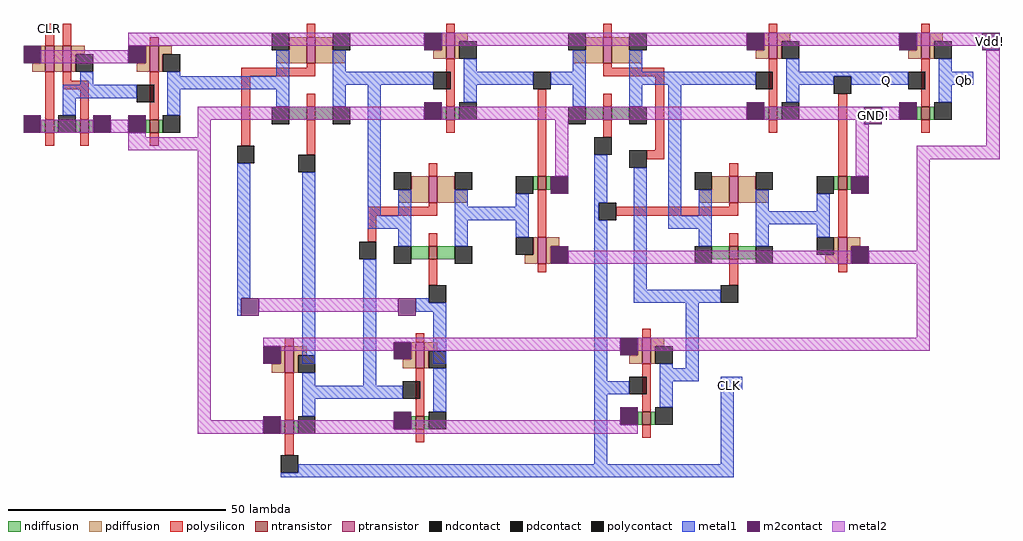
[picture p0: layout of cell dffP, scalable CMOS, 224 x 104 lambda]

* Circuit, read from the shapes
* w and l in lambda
.subckt dffP CLK CLR D GND! Q Qb Vdd!
M1 inverter_11/in CLR GND! VSUBS nfet w=3 l=2
M2 GND! D inverter_11/in VSUBS nfet w=3 l=2
M3 gate_0/Gin inverter_11/in GND! VSUBS nfet w=3 l=2
M4 gate_2/S CLK GND! VSUBS nfet w=3 l=2
M5 gate_2/Gin gate_2/S gate_0/Gin VSUBS nfet w=3 l=2
M6 gate_0/S gate_2/S GND! VSUBS nfet w=3 l=2
M7 gate_2/Gout gate_0/S gate_2/Gin VSUBS nfet w=3 l=2
M8 gate_1/Gin gate_2/Gin GND! VSUBS nfet w=3 l=2
M9 GND! gate_1/Gin gate_2/Gout VSUBS nfet w=3 l=2
M10 gate_3/Gin CLK gate_1/Gin VSUBS nfet w=3 l=2
M11 gate_1/S CLK GND! VSUBS nfet w=3 l=2
M12 gate_3/Gout gate_1/S gate_3/Gin VSUBS nfet w=3 l=2
M13 Q gate_3/Gin GND! VSUBS nfet w=3 l=2
M14 GND! Q gate_3/Gout VSUBS nfet w=3 l=2
M15 Qb Q GND! VSUBS nfet w=3 l=2
M16 n1 CLR Vdd! NWELL pfet w=6 l=2
M17 inverter_11/in D n1 NWELL pfet w=6 l=2
M18 gate_0/Gin inverter_11/in Vdd! NWELL pfet w=6 l=2
M19 gate_2/S CLK Vdd! NWELL pfet w=6 l=2
M20 gate_2/Gin gate_0/S gate_0/Gin NWELL pfet w=6 l=2
M21 gate_0/S gate_2/S Vdd! NWELL pfet w=6 l=2
M22 gate_2/Gout gate_2/S gate_2/Gin NWELL pfet w=6 l=2
M23 gate_1/Gin gate_2/Gin Vdd! NWELL pfet w=6 l=2
M24 Vdd! gate_1/Gin gate_2/Gout NWELL pfet w=6 l=2
M25 gate_3/Gin gate_1/S gate_1/Gin NWELL pfet w=6 l=2
M26 gate_1/S CLK Vdd! NWELL pfet w=6 l=2
M27 gate_3/Gout CLK gate_3/Gin NWELL pfet w=6 l=2
M28 Q gate_3/Gin Vdd! NWELL pfet w=6 l=2
M29 Vdd! Q gate_3/Gout NWELL pfet w=6 l=2
M30 Qb Q Vdd! NWELL pfet w=6 l=2
.ends

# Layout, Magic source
magic
tech scmos
<< polysilicon >>
rect -89 29 -87 32
rect -85 29 -83 32
rect -44 20 -27 22
rect -44 4 -42 20
rect 39 20 53 22
rect -29 2 -27 8
rect 24 -2 26 17
rect 39 6 41 8
rect 51 3 53 20
rect 49 1 53 3
rect 93 -2 95 16
rect -15 -12 1 -10
rect -15 -18 -13 -12
rect 42 -12 70 -10
rect -1 -28 1 -24
rect 68 -28 70 -24
rect -34 -67 -32 -63
<< metal1 >>
rect -79 15 -68 18
rect -61 17 -35 20
rect -21 18 0 21
rect -45 -31 -42 0
rect -45 -35 -44 -31
rect -30 -46 -27 -2
rect -15 -12 -12 18
rect 9 18 23 21
rect 27 18 34 21
rect 47 18 74 21
rect 37 -9 40 2
rect -15 -15 -6 -12
rect 5 -13 22 -10
rect 37 -13 38 -9
rect -16 -51 -13 -22
rect -4 -32 -1 -31
rect -4 -34 3 -32
rect 0 -46 3 -34
rect 37 -50 40 -13
rect 46 -29 49 -1
rect 54 -12 57 18
rect 83 20 109 21
rect 83 18 92 20
rect 96 18 109 20
rect 117 18 124 21
rect 54 -15 63 -12
rect 76 -14 89 -11
rect 46 -32 66 -29
rect 58 -47 61 -32
rect -29 -54 -7 -51
rect 37 -53 45 -50
rect 54 -50 61 -47
rect 66 -52 71 -49
rect 37 -69 40 -53
rect 66 -69 69 -52
rect -31 -71 69 -69
rect -35 -72 69 -71
<< metal2 >>
rect -70 27 -2 30
rect -90 23 -70 26
rect 2 27 72 30
rect 76 27 107 30
rect 111 27 126 30
rect -90 7 -78 10
rect -74 7 -70 10
rect -70 6 -66 7
rect -54 10 -2 13
rect 2 10 72 13
rect 76 10 99 13
rect -54 6 -51 10
rect -70 3 -51 6
rect -54 -59 -51 3
rect 28 -3 31 10
rect 97 9 99 10
rect 103 10 107 13
rect 97 -3 100 9
rect 127 4 130 26
rect 111 1 130 4
rect 31 -23 96 -20
rect 111 -20 114 1
rect 100 -23 114 -20
rect -40 -34 -8 -31
rect 111 -40 114 -23
rect -39 -41 43 -40
rect -39 -42 -9 -41
rect -35 -43 -9 -42
rect -5 -43 43 -41
rect 47 -43 114 -40
rect -54 -62 -39 -59
rect -35 -61 -9 -59
rect -5 -60 43 -59
rect -5 -61 47 -60
rect -35 -62 47 -61
<< polycontact >>
rect -68 14 -64 18
rect 0 17 4 21
rect 23 17 27 21
rect -45 0 -41 4
rect -31 -2 -27 2
rect 37 2 41 6
rect 74 17 78 21
rect 92 16 96 20
rect 109 17 113 21
rect 45 -1 49 3
rect 38 -13 42 -9
rect -17 -22 -13 -18
rect -1 -32 3 -28
rect 66 -32 70 -28
rect -7 -54 -3 -50
rect 45 -53 49 -49
rect -35 -71 -31 -67
<< m2contact >>
rect -94 23 -90 27
rect -70 23 -66 27
rect -2 26 2 30
rect 72 26 76 30
rect 107 26 111 30
rect 126 26 130 30
rect -94 7 -90 11
rect -78 7 -74 11
rect -70 7 -66 11
rect -44 -35 -40 -31
rect -39 -46 -35 -42
rect -2 10 2 14
rect 27 -7 31 -3
rect 27 -23 31 -19
rect -8 -35 -4 -31
rect -9 -45 -5 -41
rect 72 10 76 14
rect 99 9 103 13
rect 107 10 111 14
rect 96 -7 100 -3
rect 96 -23 100 -19
rect 43 -44 47 -40
rect -39 -62 -35 -58
rect -9 -61 -5 -57
rect 43 -60 47 -56
use nor2 nor2_0
transform 1 0 -50 0 1 15
box -44 -11 -24 15
use inverter inverter_11
transform 1 0 -65 0 1 14
box -5 -10 7 15
use gate gate_0
transform 1 0 -28 0 1 12
box -9 -5 9 20
use inverter inverter_0
transform 1 0 3 0 1 17
box -5 -10 7 15
use gate gate_1
transform 1 0 40 0 1 12
box -9 -5 9 20
use inverter inverter_1
transform 1 0 77 0 1 17
box -5 -10 7 15
use inverter inverter_10
transform 1 0 112 0 1 17
box -5 -10 7 15
use gate gate_2
transform 1 0 0 0 1 -20
box -9 -5 9 20
use inverter inverter_2
transform -1 0 26 0 -1 -10
box -5 -10 7 15
use gate gate_3
transform 1 0 69 0 1 -20
box -9 -5 9 20
use inverter inverter_3
transform -1 0 95 0 -1 -10
box -5 -10 7 15
use inverter inverter_4
transform 1 0 -34 0 1 -55
box -5 -10 7 15
use inverter inverter_5
transform 1 0 -4 0 1 -54
box -5 -10 7 15
use inverter inverter_6
transform 1 0 48 0 1 -53
box -5 -10 7 15
<< labels >>
rlabel m2contact 101 11 101 11 1 GND!
rlabel metal1 104 19 104 19 1 Q
rlabel metal1 122 19 122 19 1 Qb
rlabel m2contact 128 28 128 28 6 Vdd!
rlabel metal1 68 -51 68 -51 1 CLK
rlabel polysilicon -88 31 -88 31 5 CLR
rlabel polysilicon -84 31 -84 31 5 D
<< end >>

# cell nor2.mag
magic
tech scmos
<< polysilicon >>
rect -39 12 -37 15
rect -35 12 -33 15
rect -39 -5 -37 6
rect -35 4 -33 6
rect -35 2 -29 4
rect -31 -5 -29 2
rect -39 -11 -37 -8
rect -31 -11 -29 -8
<< ndiffusion >>
rect -40 -8 -39 -5
rect -37 -8 -36 -5
rect -32 -8 -31 -5
rect -29 -8 -28 -5
<< pdiffusion >>
rect -40 8 -39 12
rect -42 6 -39 8
rect -37 6 -35 12
rect -33 10 -30 12
rect -33 6 -32 10
<< metal1 >>
rect -31 3 -28 6
rect -35 0 -28 3
rect -35 -4 -32 0
<< ntransistor >>
rect -39 -8 -37 -5
rect -31 -8 -29 -5
<< ptransistor >>
rect -39 6 -37 12
rect -35 6 -33 12
<< ndcontact >>
rect -44 -8 -40 -4
rect -36 -8 -32 -4
rect -28 -8 -24 -4
<< pdcontact >>
rect -44 8 -40 12
rect -32 6 -28 10
<< labels >>
rlabel metal1 -33 0 -33 0 1 out
rlabel ndcontact -42 -6 -42 -6 2 GND!
rlabel ndcontact -26 -6 -26 -6 8 GND!
rlabel pdcontact -42 10 -42 10 4 Vdd!
rlabel polysilicon -38 4 -38 4 1 in1
rlabel polysilicon -34 4 -34 4 1 in2
<< end >>

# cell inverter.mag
magic
tech scmos
<< polysilicon >>
rect 0 13 2 15
rect 0 -4 2 7
rect 0 -10 2 -7
<< ndiffusion >>
rect -1 -7 0 -4
rect 2 -7 3 -4
<< pdiffusion >>
rect -1 9 0 13
rect -3 7 0 9
rect 2 11 5 13
rect 2 7 3 11
<< metal1 >>
rect 4 -3 7 7
<< ntransistor >>
rect 0 -7 2 -4
<< ptransistor >>
rect 0 7 2 13
<< ndcontact >>
rect -5 -7 -1 -3
rect 3 -7 7 -3
<< pdcontact >>
rect -5 9 -1 13
rect 3 7 7 11
<< labels >>
rlabel pdcontact -3 11 -3 11 1 Vdd
rlabel ndcontact -3 -5 -3 -5 1 GND
rlabel polysilicon 1 0 1 0 1 in
rlabel metal1 5 1 5 1 7 out
<< end >>

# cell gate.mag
magic
tech scmos
<< polysilicon >>
rect -1 17 1 20
rect -1 8 1 11
rect -1 1 1 4
rect -1 -5 1 -2
<< ndiffusion >>
rect -5 -2 -1 1
rect 1 -2 5 1
<< pdiffusion >>
rect -5 14 -1 17
rect -8 11 -1 14
rect 1 14 5 17
rect 1 11 8 14
<< metal1 >>
rect -8 1 -5 14
rect 5 1 8 14
<< ntransistor >>
rect -1 -2 1 1
<< ptransistor >>
rect -1 11 1 17
<< ndcontact >>
rect -9 -3 -5 1
rect 5 -3 9 1
<< pdcontact >>
rect -9 14 -5 18
rect 5 14 9 18
<< labels >>
rlabel polysilicon 0 19 0 19 5 S
rlabel polysilicon 0 -4 0 -4 1 Sb
rlabel metal1 -7 6 -7 6 3 Gin
rlabel metal1 7 6 7 6 7 Gout
<< end >>
